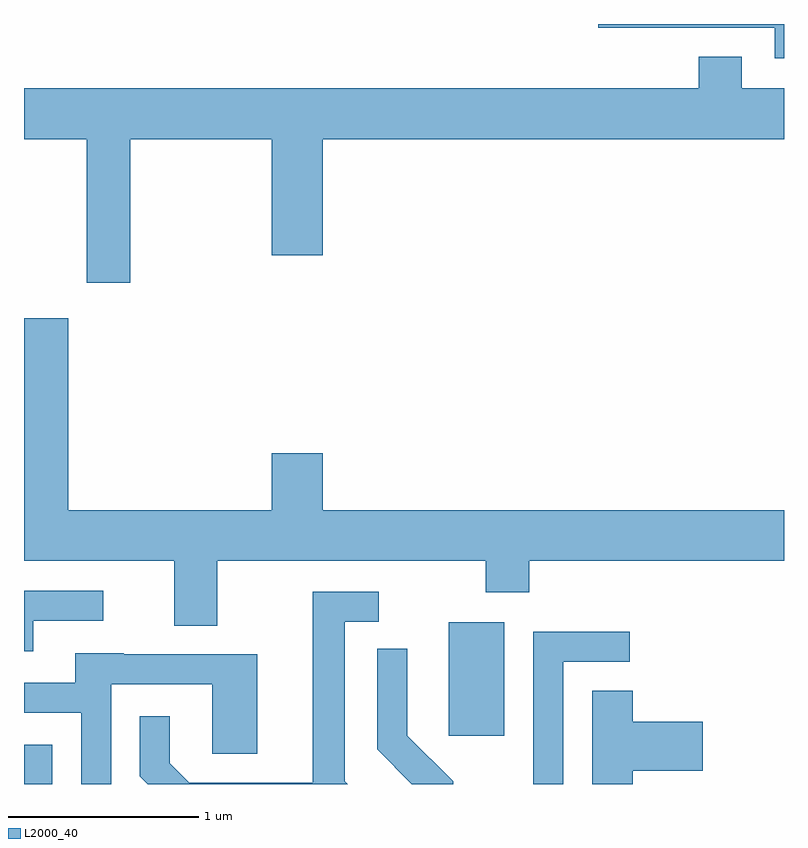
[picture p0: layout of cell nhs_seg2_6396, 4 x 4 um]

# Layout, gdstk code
import gdstk
lib = gdstk.Library(unit=1e-6, precision=1e-09)
def R(c, l, rs):  # rectangles x0, y0, x1, y1
    for r in rs: c.add(gdstk.rectangle(r[:2], r[2:], *l))
def P(c, l, *ps):  # polygons
    for p in ps: c.add(gdstk.Polygon(p, *l))
L2000_40 = (2000, 40)

nhs_seg2_6396 = lib.new_cell('nhs_seg2_6396')
R(nhs_seg2_6396, L2000_40, [(373.611,1053.802,373.759,1054.009), (375.846,1054.056,376.139,1054.654)])
P(nhs_seg2_6396, L2000_40, [(377.611,1057.802),(376.633,1057.802),(376.633,1057.781),(377.561,1057.781),(377.561,1057.621),(377.611,1057.621)],
  [(374.169,1057.196),(374.916,1057.196),(374.916,1056.586),(375.184,1056.586),(375.184,1057.196),(377.611,1057.196),(377.611,1057.464),(377.389,1057.464),(377.389,1057.629),(377.161,1057.629),(377.161,1057.464),(373.611,1057.464),(373.611,1057.196),(373.941,1057.196),(373.941,1056.441),(374.169,1056.441)],
  [(374.629,1054.976),(376.041,1054.976),(376.041,1054.811),(376.269,1054.811),(376.269,1054.976),(377.611,1054.976),(377.611,1055.244),(375.184,1055.244),(375.184,1055.544),(374.916,1055.544),(374.916,1055.244),(373.844,1055.244),(373.844,1056.254),(373.611,1056.254),(373.611,1054.976),(374.401,1054.976),(374.401,1054.636),(374.629,1054.636)],
  [(373.659,1054.661),(374.028,1054.661),(374.028,1054.819),(373.611,1054.819),(373.611,1054.501),(373.659,1054.501)],
  [(375.299,1053.817),(375.299,1054.656),(375.478,1054.656),(375.478,1054.814),(375.131,1054.814),(375.131,1053.809),(374.482,1053.809),(374.379,1053.912),(374.379,1054.158),(374.221,1054.158),(374.221,1053.844),(374.263,1053.802),(375.314,1053.802)],
  [(376.449,1054.446),(376.798,1054.446),(376.798,1054.604),(376.291,1054.604),(376.291,1053.802),(376.449,1053.802)],
  [(375.869,1053.817),(375.629,1054.057),(375.629,1054.513),(375.471,1054.513),(375.471,1053.984),(375.653,1053.802),(375.869,1053.802)],
  [(374.069,1054.326),(374.601,1054.326),(374.601,1053.961),(374.839,1053.961),(374.839,1054.484),(374.135,1054.484),(374.135,1054.489),(373.881,1054.489),(373.881,1054.334),(373.611,1054.334),(373.611,1054.176),(373.911,1054.176),(373.911,1053.802),(374.069,1053.802)],
  [(376.814,1053.871),(377.184,1053.871),(377.184,1054.129),(376.814,1054.129),(376.814,1054.294),(376.601,1054.294),(376.601,1053.802),(376.814,1053.802)])

lib.write_gds('nhs_seg2_6396.gds')
